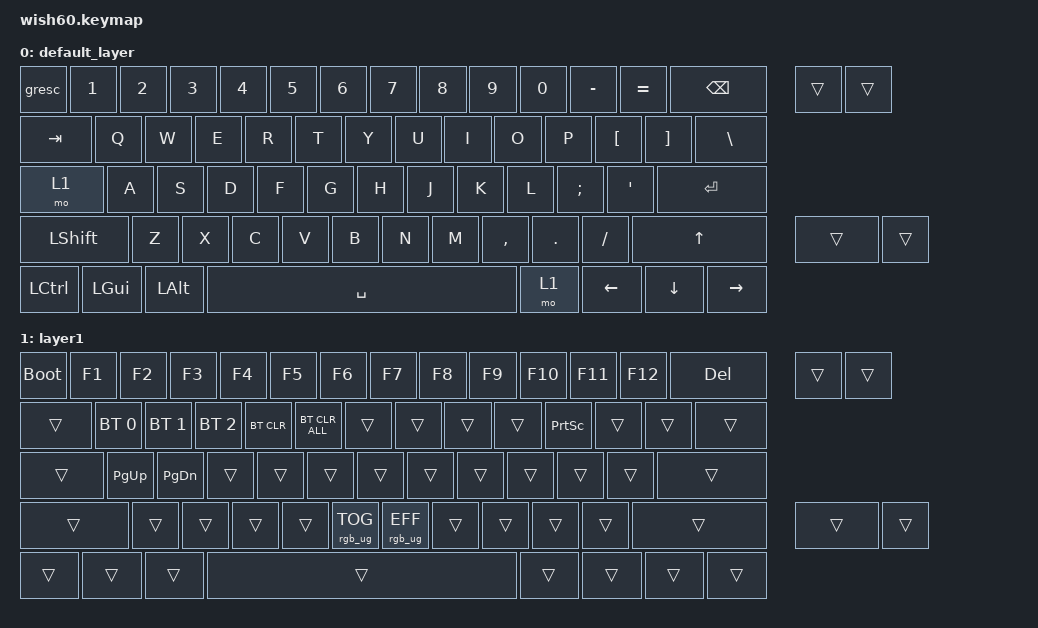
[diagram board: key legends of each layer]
/*
 * Copyright (c) 2021 Nick Winans
 *
 * SPDX-License-Identifier: MIT
 */

#define ZMK_POINTING_DEFAULT_MOVE_VAL 3000  // default: 600
#define ZMK_POINTING_DEFAULT_SCRL_VAL 40    // default: 10

#include <behaviors.dtsi>
#include <dt-bindings/zmk/bt.h>
#include <dt-bindings/zmk/keys.h>
#include <dt-bindings/zmk/rgb.h>

&soft_off { hold-time-ms = <3000>; };

/ {
    keymap {
        compatible = "zmk,keymap";

        default_layer {
            // ------------------------------------------------------------------------------------------
            // | ESC |  1  |  2  |  3  |  4  |  5  |  6  |  7  |  8  |  9  |  0  |  -  |  =  |   BSPC   |
            // |  TAB  |  Q  |  W  |  E  |  R  |  T  |  Y  |  U  |  I  |  O  |  P  |  [  |  ]  |   |    |
            // |  CAPS  |  A  |  S  |  D  |  F  |  G  |  H  |  J  |  K  |  L  |  ;  |  '  |    ENTER    |
            // |  SHIFT    |  Z  |  X  |  C  |  V  |  B  |  N  |  M  |  ,  |  .  | /   |      SHIFT     |
            // |  CTL  |  WIN  |  ALT  |            SPACE              | ALT | 1    |  MENU    |  CTRL  |
            // ------------------------------------------------------------------------------------------

            bindings = <
&gresc     &kp N1    &kp N2    &kp N3  &kp N4  &kp N5  &kp N6     &kp N7  &kp N8     &kp N9   &kp N0    &kp MINUS       &kp EQUAL       &kp BSPC   &trans  &trans
&kp TAB    &kp Q     &kp W     &kp E   &kp R   &kp T   &kp Y      &kp U   &kp I      &kp O    &kp P     &kp LBKT        &kp RBKT        &kp BSLH
&mo 1      &kp A     &kp S     &kp D   &kp F   &kp G   &kp H      &kp J   &kp K      &kp L    &kp SEMI  &kp SQT                         &kp RET
&kp LSHFT  &kp Z     &kp X     &kp C   &kp V   &kp B   &kp N      &kp M   &kp COMMA  &kp DOT  &kp FSLH  &kp UP          &trans          &trans
&kp LCTRL  &kp LGUI  &kp LALT                          &kp SPACE                     &mo 1              &kp LEFT_ARROW  &kp DOWN_ARROW  &kp RIGHT
            >;
        };

        layer1 {
            bindings = <
&bootloader  &kp F1        &kp F2         &kp F3        &kp F4      &kp F5           &kp F6           &kp F7  &kp F8  &kp F9  &kp F10          &kp F11  &kp F12  &kp DEL  &trans  &trans
&trans       &bt BT_SEL 0  &bt BT_SEL 1   &bt BT_SEL 2  &bt BT_CLR  &bt BT_CLR_ALL   &trans           &trans  &trans  &trans  &kp PRINTSCREEN  &trans   &trans   &trans
&trans       &kp PAGE_UP   &kp PAGE_DOWN  &trans        &trans      &trans           &trans           &trans  &trans  &trans  &trans           &trans            &trans
&trans       &trans        &trans         &trans        &trans      &rgb_ug RGB_TOG  &rgb_ug RGB_EFF  &trans  &trans  &trans  &trans           &trans   &trans   &trans
&trans       &trans        &trans                                                    &trans                           &trans                   &trans   &trans   &trans
            >;
        };

        layer2 { status = "reserved"; };

        layer3 { status = "reserved"; };

        layer4 { status = "reserved"; };

        layer5 { status = "reserved"; };

        layer6 { status = "reserved"; };

        layer7 { status = "reserved"; };
    };
};
